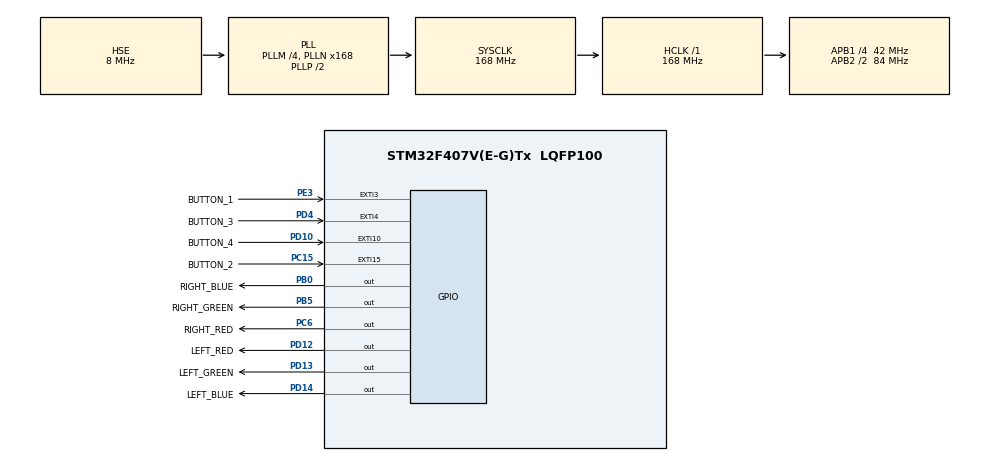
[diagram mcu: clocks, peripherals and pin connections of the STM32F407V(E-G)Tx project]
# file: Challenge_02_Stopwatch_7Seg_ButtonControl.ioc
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Mcu.Family=STM32F4
Mcu.Name=STM32F407V(E-G)Tx
Mcu.Package=LQFP100
NVIC.EXTI15_10_IRQn=true\:0\:0\:false\:true\:true\:4\:true\:true\:true
NVIC.EXTI3_IRQn=true\:0\:0\:false\:true\:true\:2\:true\:true\:true
NVIC.EXTI4_IRQn=true\:0\:0\:false\:true\:true\:3\:true\:true\:true
NVIC.PriorityGroup=NVIC_PRIORITYGROUP_4
NVIC.TIM6_DAC_IRQn=true\:0\:0\:false\:true\:true\:1\:true\:true\:true
PB0.GPIO_Label=RIGHT_BLUE
PB0.GPIO_ModeDefaultOutputPP=GPIO_MODE_OUTPUT_PP
PB0.GPIO_PuPd=GPIO_NOPULL
PB0.GPIO_Speed=GPIO_SPEED_FREQ_LOW
PB0.PinState=GPIO_PIN_SET
PB0.Signal=GPIO_Output
PB5.GPIO_Label=RIGHT_GREEN
PB5.GPIO_ModeDefaultOutputPP=GPIO_MODE_OUTPUT_PP
PB5.GPIO_PuPd=GPIO_NOPULL
PB5.GPIO_Speed=GPIO_SPEED_FREQ_LOW
PB5.PinState=GPIO_PIN_SET
PB5.Signal=GPIO_Output
PC15-OSC32_OUT.GPIO_Label=BUTTON_2
PC15-OSC32_OUT.GPIO_ModeDefaultEXTI=GPIO_MODE_IT_RISING
PC15-OSC32_OUT.GPIO_PuPd=GPIO_NOPULL
PC15-OSC32_OUT.Signal=GPXTI15
PC6.GPIO_Label=RIGHT_RED
PC6.GPIO_ModeDefaultOutputPP=GPIO_MODE_OUTPUT_PP
PC6.GPIO_PuPd=GPIO_NOPULL
PC6.GPIO_Speed=GPIO_SPEED_FREQ_LOW
PC6.PinState=GPIO_PIN_SET
PC6.Signal=GPIO_Output
PD10.GPIO_Label=BUTTON_4
PD10.GPIO_ModeDefaultEXTI=GPIO_MODE_IT_RISING
PD10.GPIO_PuPd=GPIO_NOPULL
PD10.Signal=GPXTI10
PD12.GPIO_Label=LEFT_RED
PD12.GPIO_ModeDefaultOutputPP=GPIO_MODE_OUTPUT_PP
PD12.GPIO_PuPd=GPIO_NOPULL
PD12.GPIO_Speed=GPIO_SPEED_FREQ_LOW
PD12.PinState=GPIO_PIN_SET
PD12.Signal=GPIO_Output
PD13.GPIO_Label=LEFT_GREEN
PD13.GPIO_ModeDefaultOutputPP=GPIO_MODE_OUTPUT_PP
PD13.GPIO_PuPd=GPIO_NOPULL
PD13.GPIO_Speed=GPIO_SPEED_FREQ_LOW
PD13.PinState=GPIO_PIN_SET
PD13.Signal=GPIO_Output
PD14.GPIO_Label=LEFT_BLUE
PD14.GPIO_ModeDefaultOutputPP=GPIO_MODE_OUTPUT_PP
PD14.GPIO_PuPd=GPIO_NOPULL
PD14.GPIO_Speed=GPIO_SPEED_FREQ_LOW
PD14.PinState=GPIO_PIN_SET
PD14.Signal=GPIO_Output
PD4.GPIO_Label=BUTTON_3
PD4.GPIO_ModeDefaultEXTI=GPIO_MODE_IT_RISING
PD4.GPIO_PuPd=GPIO_NOPULL
PD4.Signal=GPXTI4
PE3.GPIO_Label=BUTTON_1
PE3.GPIO_ModeDefaultEXTI=GPIO_MODE_IT_RISING_FALLING
PE3.GPIO_PuPd=GPIO_NOPULL
PE3.Signal=GPXTI3
PH0-OSC_IN.Mode=HSE-External-Oscillator
PH0-OSC_IN.Signal=RCC_OSC_IN
PH1-OSC_OUT.Mode=HSE-External-Oscillator
PH1-OSC_OUT.Signal=RCC_OSC_OUT
ProjectManager.HeapSize=0x200
ProjectManager.StackSize=0x400
ProjectManager.TargetToolchain=STM32CubeIDE
RCC.48MHZClocksFreq_Value=84000000
RCC.AHBFreq_Value=168000000
RCC.APB1CLKDivider=RCC_HCLK_DIV4
RCC.APB1Freq_Value=42000000
RCC.APB1TimFreq_Value=84000000
RCC.APB2CLKDivider=RCC_HCLK_DIV2
RCC.APB2Freq_Value=84000000
RCC.APB2TimFreq_Value=168000000
RCC.CortexFreq_Value=168000000
RCC.HCLKFreq_Value=168000000
RCC.HSE_VALUE=8000000
RCC.HSI_VALUE=16000000
RCC.LSE_VALUE=32768
RCC.PLLM=4
RCC.PLLN=168
RCC.PLLSourceVirtual=RCC_PLLSOURCE_HSE
RCC.SYSCLKFreq_VALUE=168000000
RCC.SYSCLKSource=RCC_SYSCLKSOURCE_PLLCLK
RCC.VCOOutputFreq_Value=336000000
TIM6.Period=8400 - 1
TIM6.Prescaler=10 - 1
VP_TIM6_VS_ClockSourceINT.Mode=Enable_Timer
board=custom

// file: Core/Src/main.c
/* USER CODE BEGIN Header */
/**
  ******************************************************************************
  * @file           : main.c
  * @brief          : Main program body
  ******************************************************************************
  * @attention
  *
  * Copyright (c) 2025 STMicroelectronics.
  * All rights reserved.
  *
  * This software is licensed under terms that can be found in the LICENSE file
  * in the root directory of this software component.
  * If no LICENSE file comes with this software, it is provided AS-IS.
  *
  ******************************************************************************
  */
/* USER CODE END Header */
#include "main.h"

/* USER CODE BEGIN Includes */
#include "led.h"
//#include "button.h"
#include "clock.h"
#include "segment.h"
#include "timer.h"
/* USER CODE END Includes */

TIM_HandleTypeDef htim6;

void SystemClock_Config(void);
static void MX_GPIO_Init(void);
static void MX_TIM6_Init(void);
static void MX_NVIC_Init(void);

int main(void)
{

  /* MCU Configuration--------------------------------------------------------*/

  /* Reset of all peripherals, Initializes the Flash interface and the Systick. */
  HAL_Init();

  /* Configure the system clock */
  SystemClock_Config();

  /* Initialize all configured peripherals */
  MX_GPIO_Init();
  MX_TIM6_Init();

  /* Initialize interrupts */
  MX_NVIC_Init();
  /* USER CODE BEGIN 2 */
  HAL_TIM_Base_Start_IT(&htim6);
  _7SEG_GPIO_Init();
  /* USER CODE END 2 */

  /* Infinite loop */
  /* USER CODE BEGIN WHILE */
  while (1)
  {
	  update_button(BUTTON_1);
	  update_button(BUTTON_2);
	  update_button(BUTTON_3);
	  update_button(BUTTON_4);

	  operate_left_led(BUTTON_1, LEFT_RED);
	  operate_left_led(BUTTON_2, LEFT_GREEN);
	  operate_left_led(BUTTON_3, LEFT_BLUE);
	  operate_right_led(BUTTON_4, RIGHT_RED);
	  operate_clock();

	  update_last_button(BUTTON_1);
	  update_last_button(BUTTON_2);
	  update_last_button(BUTTON_3);
	  update_last_button(BUTTON_4);

    /* USER CODE END WHILE */

  }
}

void SystemClock_Config(void)
{
  RCC_OscInitTypeDef RCC_OscInitStruct = {0};
  RCC_ClkInitTypeDef RCC_ClkInitStruct = {0};

  /** Configure the main internal regulator output voltage
  */
  __HAL_RCC_PWR_CLK_ENABLE();
  __HAL_PWR_VOLTAGESCALING_CONFIG(PWR_REGULATOR_VOLTAGE_SCALE1);

  /** Initializes the RCC Oscillators according to the specified parameters
  * in the RCC_OscInitTypeDef structure.
  */
  RCC_OscInitStruct.OscillatorType = RCC_OSCILLATORTYPE_HSE;
  RCC_OscInitStruct.HSEState = RCC_HSE_ON;
  RCC_OscInitStruct.PLL.PLLState = RCC_PLL_ON;
  RCC_OscInitStruct.PLL.PLLSource = RCC_PLLSOURCE_HSE;
  RCC_OscInitStruct.PLL.PLLM = 4;
  RCC_OscInitStruct.PLL.PLLN = 168;
  RCC_OscInitStruct.PLL.PLLP = RCC_PLLP_DIV2;
  RCC_OscInitStruct.PLL.PLLQ = 4;
  if (HAL_RCC_OscConfig(&RCC_OscInitStruct) != HAL_OK)
  {
    Error_Handler();
  }

  /** Initializes the CPU, AHB and APB buses clocks
  */
  RCC_ClkInitStruct.ClockType = RCC_CLOCKTYPE_HCLK|RCC_CLOCKTYPE_SYSCLK
                              |RCC_CLOCKTYPE_PCLK1|RCC_CLOCKTYPE_PCLK2;
  RCC_ClkInitStruct.SYSCLKSource = RCC_SYSCLKSOURCE_PLLCLK;
  RCC_ClkInitStruct.AHBCLKDivider = RCC_SYSCLK_DIV1;
  RCC_ClkInitStruct.APB1CLKDivider = RCC_HCLK_DIV4;
  RCC_ClkInitStruct.APB2CLKDivider = RCC_HCLK_DIV2;

  if (HAL_RCC_ClockConfig(&RCC_ClkInitStruct, FLASH_LATENCY_5) != HAL_OK)
  {
    Error_Handler();
  }
}

/**
  * @brief NVIC Configuration.
  * @retval None
  */
static void MX_NVIC_Init(void)
{
  /* TIM6_DAC_IRQn interrupt configuration */
  HAL_NVIC_SetPriority(TIM6_DAC_IRQn, 0, 0);
  HAL_NVIC_EnableIRQ(TIM6_DAC_IRQn);
  /* EXTI3_IRQn interrupt configuration */
  HAL_NVIC_SetPriority(EXTI3_IRQn, 0, 0);
  HAL_NVIC_EnableIRQ(EXTI3_IRQn);
  /* EXTI4_IRQn interrupt configuration */
  HAL_NVIC_SetPriority(EXTI4_IRQn, 0, 0);
  HAL_NVIC_EnableIRQ(EXTI4_IRQn);
  /* EXTI15_10_IRQn interrupt configuration */
  HAL_NVIC_SetPriority(EXTI15_10_IRQn, 0, 0);
  HAL_NVIC_EnableIRQ(EXTI15_10_IRQn);
}

static void MX_TIM6_Init(void)
{

  TIM_MasterConfigTypeDef sMasterConfig = {0};

  htim6.Instance = TIM6;
  htim6.Init.Prescaler = 10 - 1;
  htim6.Init.CounterMode = TIM_COUNTERMODE_UP;
  htim6.Init.Period = 8400 - 1;
  htim6.Init.AutoReloadPreload = TIM_AUTORELOAD_PRELOAD_DISABLE;
  if (HAL_TIM_Base_Init(&htim6) != HAL_OK)
  {
    Error_Handler();
  }
  sMasterConfig.MasterOutputTrigger = TIM_TRGO_RESET;
  sMasterConfig.MasterSlaveMode = TIM_MASTERSLAVEMODE_DISABLE;
  if (HAL_TIMEx_MasterConfigSynchronization(&htim6, &sMasterConfig) != HAL_OK)
  {
    Error_Handler();
  }

}

static void MX_GPIO_Init(void)
{
  GPIO_InitTypeDef GPIO_InitStruct = {0};

  /* GPIO Ports Clock Enable */
  __HAL_RCC_GPIOE_CLK_ENABLE();
  __HAL_RCC_GPIOC_CLK_ENABLE();
  __HAL_RCC_GPIOH_CLK_ENABLE();
  __HAL_RCC_GPIOB_CLK_ENABLE();
  __HAL_RCC_GPIOD_CLK_ENABLE();

  /*Configure GPIO pin Output Level */
  HAL_GPIO_WritePin(GPIOB, RIGHT_BLUE_Pin|RIGHT_GREEN_Pin, GPIO_PIN_SET);

  /*Configure GPIO pin Output Level */
  HAL_GPIO_WritePin(GPIOD, LEFT_RED_Pin|LEFT_GREEN_Pin|LEFT_BLUE_Pin, GPIO_PIN_SET);

  /*Configure GPIO pin Output Level */
  HAL_GPIO_WritePin(RIGHT_RED_GPIO_Port, RIGHT_RED_Pin, GPIO_PIN_SET);

  /*Configure GPIO pin : BUTTON_1_Pin */
  GPIO_InitStruct.Pin = BUTTON_1_Pin;
  GPIO_InitStruct.Mode = GPIO_MODE_IT_RISING_FALLING;
  GPIO_InitStruct.Pull = GPIO_NOPULL;
  HAL_GPIO_Init(BUTTON_1_GPIO_Port, &GPIO_InitStruct);

  /*Configure GPIO pin : BUTTON_2_Pin */
  GPIO_InitStruct.Pin = BUTTON_2_Pin;
  GPIO_InitStruct.Mode = GPIO_MODE_IT_RISING;
  GPIO_InitStruct.Pull = GPIO_NOPULL;
  HAL_GPIO_Init(BUTTON_2_GPIO_Port, &GPIO_InitStruct);

  /*Configure GPIO pins : RIGHT_BLUE_Pin RIGHT_GREEN_Pin */
  GPIO_InitStruct.Pin = RIGHT_BLUE_Pin|RIGHT_GREEN_Pin;
  GPIO_InitStruct.Mode = GPIO_MODE_OUTPUT_PP;
  GPIO_InitStruct.Pull = GPIO_NOPULL;
  GPIO_InitStruct.Speed = GPIO_SPEED_FREQ_LOW;
  HAL_GPIO_Init(GPIOB, &GPIO_InitStruct);

  /*Configure GPIO pins : BUTTON_4_Pin BUTTON_3_Pin */
  GPIO_InitStruct.Pin = BUTTON_4_Pin|BUTTON_3_Pin;
  GPIO_InitStruct.Mode = GPIO_MODE_IT_RISING;
  GPIO_InitStruct.Pull = GPIO_NOPULL;
  HAL_GPIO_Init(GPIOD, &GPIO_InitStruct);

  /*Configure GPIO pins : LEFT_RED_Pin LEFT_GREEN_Pin LEFT_BLUE_Pin */
  GPIO_InitStruct.Pin = LEFT_RED_Pin|LEFT_GREEN_Pin|LEFT_BLUE_Pin;
  GPIO_InitStruct.Mode = GPIO_MODE_OUTPUT_PP;
  GPIO_InitStruct.Pull = GPIO_NOPULL;
  GPIO_InitStruct.Speed = GPIO_SPEED_FREQ_LOW;
  HAL_GPIO_Init(GPIOD, &GPIO_InitStruct);

  /*Configure GPIO pin : RIGHT_RED_Pin */
  GPIO_InitStruct.Pin = RIGHT_RED_Pin;
  GPIO_InitStruct.Mode = GPIO_MODE_OUTPUT_PP;
  GPIO_InitStruct.Pull = GPIO_NOPULL;
  GPIO_InitStruct.Speed = GPIO_SPEED_FREQ_LOW;
  HAL_GPIO_Init(RIGHT_RED_GPIO_Port, &GPIO_InitStruct);

}

/* USER CODE BEGIN 4 */
void HAL_TIM_PeriodElapsedCallback(TIM_HandleTypeDef* htim)
{
	if (htim->Instance == TIM6)
	{
		if (is_running()) count_up();
	}
}

//void HAL_GPIO_EXTI_Callback(uint16_t GPIO_Pin)
//{
//	static bool is_button_pressed;
//
//	if (GPIO_Pin == BUTTON_1_Pin)
//	{
//		if (HAL_GPIO_ReadPin(BUTTON_1_GPIO_Port, BUTTON_1_Pin))
//		{
//			if (!is_button_pressed)
//			{
//				is_button_pressed = !is_button_pressed;
//				HAL_GPIO_TogglePin(LEFT_RED_GPIO_Port, LEFT_RED_Pin);
//			}
//		}
//		else
//		{
//			if (is_button_pressed)
//			{
//				is_button_pressed = !is_button_pressed;
//			}
//		}
//	}
//}

/* USER CODE END 4 */

void Error_Handler(void)
{
  __disable_irq();
  while (1)
  {
  }
}
